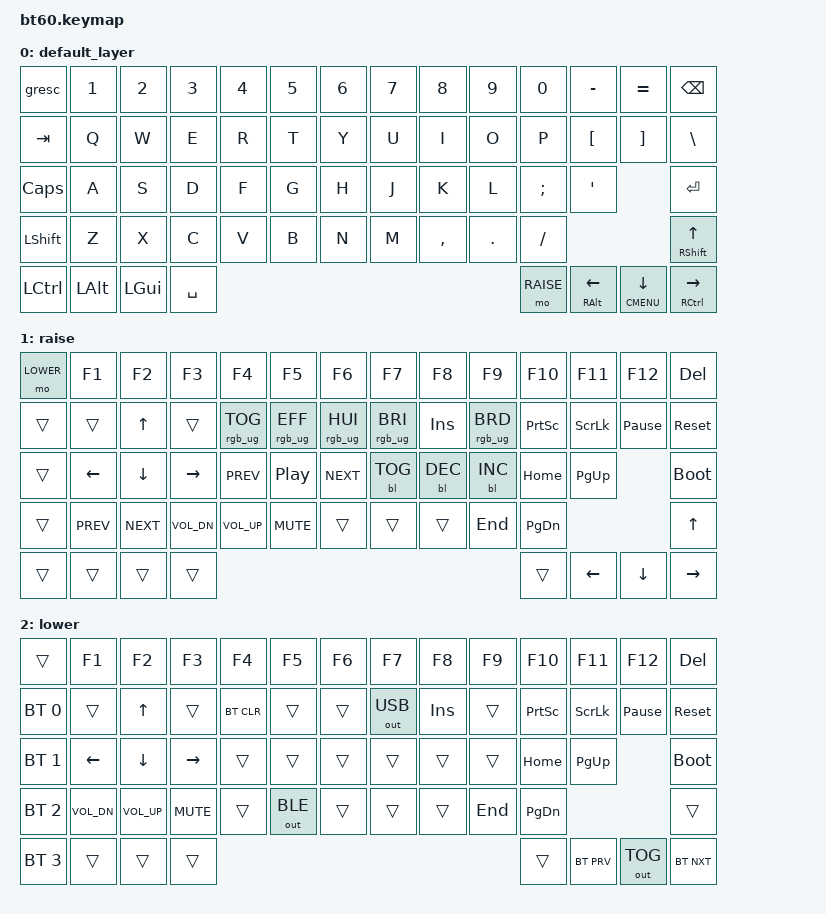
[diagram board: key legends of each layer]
#include <behaviors.dtsi>
#include <dt-bindings/zmk/keys.h>
#include <dt-bindings/zmk/bt.h>
#include <dt-bindings/zmk/outputs.h>
#include <dt-bindings/zmk/rgb.h>
#include <dt-bindings/zmk/backlight.h>

#define DEFAULT 0
#define RAISE   1
#define LOWER   2

/* No rotary encoders are fitted on this board: disable the encoder and
 * keymap-sensor nodes that ZMK's in-tree bt60 board enables by default. */
&encoder_1 { status = "disabled"; };
&encoder_2 { status = "disabled"; };
&encoder_3 { status = "disabled"; };
&sensors   { status = "disabled"; };

/* Mod-tap keys (Right Shift/Up, Right Alt/Left, Menu/Down, Right Ctrl/Right):
 *  - tap            -> arrow key
 *  - hold (>200 ms) -> modifier
 *  - tap, then press and hold again within 175 ms -> arrow key auto-repeats */
&mt {
    tapping-term-ms = <200>;
    quick-tap-ms = <175>;
};

/ {
    keymap {
        compatible = "zmk,keymap";

        default_layer {
            // ---------------------------------------------------------------------------------------------
            // | ESC/` |  1  |  2  |  3  |  4  |  5  |  6  |  7  |  8  |  9  |  0  |  -  |  =  |   BKSP    |
            // | TAB    |  Q  |  W  |  E  |  R  |  T  |  Y  |  U  |  I  |  O  |  P  |  [  |  ]  |    \     |
            // | CAPS    |  A  |  S  |  D  |  F  |  G  |  H  |  J  |  K  |  L  |  ;  |  '  |     ENTER     |
            // | SHIFT      |  Z  |  X  |  C  |  V  |  B  |  N  |  M  |  ,  |  .  |  /  |   SHIFT / UP    |
            // | CTRL  |  OPT  |  CMD  |            SPACE              | FN | OPT/LEFT | MENU/DOWN | CTRL/RIGHT |
            // ---------------------------------------------------------------------------------------------
            bindings = <
                &gresc    &kp N1 &kp N2 &kp N3 &kp N4 &kp N5 &kp N6 &kp N7 &kp N8    &kp N9  &kp N0   &kp MINUS &kp EQUAL &kp BSPC
                &kp TAB   &kp Q  &kp W  &kp E  &kp R  &kp T  &kp Y  &kp U  &kp I     &kp O   &kp P    &kp LBKT  &kp RBKT  &kp BSLH
                &kp CLCK  &kp A  &kp S  &kp D  &kp F  &kp G  &kp H  &kp J  &kp K     &kp L   &kp SEMI &kp SQT             &kp RET
                &kp LSHFT &kp Z  &kp X  &kp C  &kp V  &kp B  &kp N  &kp M  &kp COMMA &kp DOT &kp FSLH                     &mt RSHFT UP
                &kp LCTRL &kp LALT &kp LGUI           &kp SPACE                      &mo RAISE &mt RALT LEFT &mt K_CMENU DOWN &mt RCTRL RIGHT
            >;
        };

        raise {
            // Hold FN.
            // ---------------------------------------------------------------------------------------------
            // |  LOWER |  F1 |  F2 |  F3 |  F4 |  F5 |  F6 |  F7 |  F8 |  F9 | F10 | F11 | F12 |    DEL   |
            // |        |     |  UP |     |RGBTG|RGBFX|RGBHU|RGBB+| INS |RGBB-|PSCRN| SLCK|PAUSE| RESET    |
            // |         | LEFT| DOWN|RIGHT| PREV| PLAY| NEXT|BL_TG|BL - |BL + | HOME| PGUP|   BOOTLOADER  |
            // |            | PREV| NEXT| VOL-| VOL+| MUTE|     |     |     | END | PGDN|       UP        |
            // |       |       |       |                               |    |   LEFT   |   DOWN    |  RIGHT     |
            // ---------------------------------------------------------------------------------------------
            bindings = <
                &mo LOWER &kp F1     &kp F2     &kp F3       &kp F4          &kp F5           &kp F6          &kp F7        &kp F8      &kp F9      &kp F10       &kp F11   &kp F12         &kp DEL
                &trans    &trans     &kp UP     &trans       &rgb_ug RGB_TOG &rgb_ug RGB_EFF  &rgb_ug RGB_HUI &rgb_ug RGB_BRI &kp INS   &rgb_ug RGB_BRD &kp PSCRN &kp SLCK  &kp PAUSE_BREAK &sys_reset
                &trans    &kp LEFT   &kp DOWN   &kp RIGHT    &kp C_PREV      &kp C_PLAY_PAUSE &kp C_NEXT      &bl BL_TOG    &bl BL_DEC  &bl BL_INC  &kp HOME      &kp PG_UP                 &bootloader
                &trans    &kp C_PREV &kp C_NEXT &kp C_VOL_DN &kp C_VOL_UP    &kp C_MUTE       &trans          &trans        &trans      &kp END     &kp PG_DN                               &kp UP
                &trans    &trans     &trans                                  &trans                                                     &trans      &kp LEFT      &kp DOWN  &kp RIGHT
            >;
        };

        lower {
            // Hold FN, then hold ESC.
            // ---------------------------------------------------------------------------------------------
            // |       |  F1 |  F2 |  F3 |  F4 |  F5 |  F6 |  F7 |  F8 |  F9 | F10 | F11 | F12 |    DEL    |
            // | BT 0   |     |  UP |     |BTCLR|     |     | USB | INS |     |PSCRN| SLCK|PAUSE| RESET    |
            // | BT 1    | LEFT| DOWN|RIGHT|     |     |     |     |     |     | HOME| PGUP|   BOOTLOADER  |
            // | BT 2       | VOL-| VOL+| MUTE|     | BLE |     |     |     | END | PGDN|                 |
            // | BT 3  |       |       |                               |    |  BT PREV | USB<->BLE |  BT NEXT   |
            // ---------------------------------------------------------------------------------------------
            bindings = <
                &trans       &kp F1       &kp F2       &kp F3     &kp F4     &kp F5      &kp F6 &kp F7      &kp F8  &kp F9  &kp F10   &kp F11    &kp F12         &kp DEL
                &bt BT_SEL 0 &trans       &kp UP       &trans     &bt BT_CLR &trans      &trans &out OUT_USB &kp INS &trans  &kp PSCRN &kp SLCK   &kp PAUSE_BREAK &sys_reset
                &bt BT_SEL 1 &kp LEFT     &kp DOWN     &kp RIGHT  &trans     &trans      &trans &trans      &trans  &trans  &kp HOME  &kp PG_UP                  &bootloader
                &bt BT_SEL 2 &kp C_VOL_DN &kp C_VOL_UP &kp C_MUTE &trans     &out OUT_BLE &trans &trans     &trans  &kp END &kp PG_DN                              &trans
                &bt BT_SEL 3 &trans       &trans                             &trans                                         &trans    &bt BT_PRV &out OUT_TOG    &bt BT_NXT
            >;
        };
    };
};
